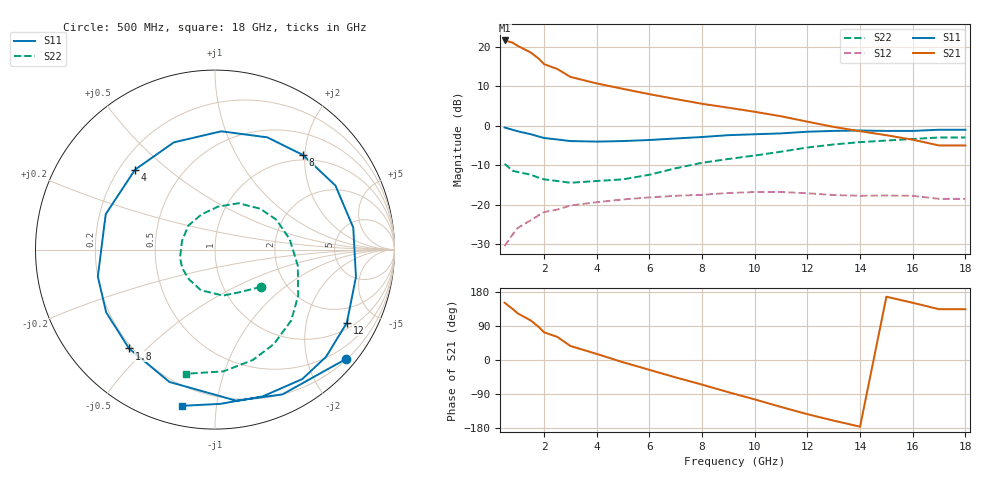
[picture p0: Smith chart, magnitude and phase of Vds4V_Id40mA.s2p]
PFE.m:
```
clear,clc
S=[ 0.7*exp(-150*1i*pi/180) 0.081*exp(19*1i*pi/180); 6.002*exp(73*1i*pi/180) 0.21*exp(-150*1i*pi/180)];
[K,mu,D,B1,B2,C1,C2,D1,D2] = sparam(S);Fmin = 0.22;gGopt=0.66*exp(67*1i*pi/180);rn=4.5/50;F=0.35;Ga=17.16;
[cs,rs] = sgcirc(S,'s');[cl,rl] = sgcirc(S,'l');% Stability circles
gLopt = conj(gout(S,gGopt));Gopt=10*log10(sgain(S,gGopt,'a'));Gmsg = 10*log10(sgain(S,'msg'));

%Constant NF and Ga circles
[cf,rf] = nfcirc(F,Fmin,rn,gGopt);[c_opt,r_opt] = sgcirc(S,'a',Gopt); [ca,ra] = sgcirc(S,'a',Ga);
figure
hsm = smithchart;hold on
smithcir(cf,rf,10,3);smithcir(c_opt,r_opt,10,3);smithcir(ca,ra,10,3);smithcir(cs,rs,10,3);smithcir(cl,rl,10,3)
%Calculate intersection point
phi = linspace(0,2*pi,721); gG = cf + rf*exp(1i*phi);
G = 10*log10(sgain(S,gG,'a'));[Ga,i] = max(G); gammaG = gG(i); gammaL = conj(gout(S,gammaG)); 
plot([gGopt, gLopt],'*');plot([gammaG,gammaL],'*');
legend(['Constant F=' num2str(F)],['G_F_m_i_n=' num2str(Gopt)],['Ga=' num2str(Ga) ' dB'],'Input stability circle','output stability circle','Gamma_o_p_t','Gamma_D_e_s_i_r_e_d')
title('Stability, noise figure, and gain circles')
%GAMMA OF INTERSECTION POINTS
gG_intersection = circint(cf,rf,ca,ra);gL_intersection = conj(gout(S,gG_intersection));
%%%%%%%%%         DESIGN OF MATCHING NETWORKS              %%%%%%%%%%%%%%%%%%%%%
Z_G = gamma2z(gammaG);Z_L = gamma2z(gammaL);Z0=50;f0=2e9;w=2*pi*f0;
%%%%%%%%%%%%%%%INPUT MATCHING NETWORK%%%%%%%%%%%%%%%%%%%%%%
ZL=conj(Z_G);RL=real(ZL);XL=imag(ZL);
if abs(real(ZL/Z0))>=1   
B1=1/(RL^2+XL^2)*(XL+(RL/Z0)^.5*(RL^2+XL^2-Z0*RL)^.5);B2=1/(RL^2+XL^2)*(XL-(RL/Z0)^.5*(RL^2+XL^2-Z0*RL)^.5);
X1=1/B1+XL*Z0/RL-Z0/(B1*RL);X2=1/B2+XL*Z0/RL-Z0/(B2*RL);
elseif abs(real(ZL/Z0))<=1   
X1=(RL*(Z0-RL))^.5-XL; X2=-(RL*(Z0-RL))^.5-XL;B1=1/Z0*((Z0-RL)/RL)^.5; B2=-1/Z0*((Z0-RL)/RL)^.5;
end
[C1 ctype]=B2LC(B1,f0);[L1 ltype]=X2LC(X1,f0);% the 1st match solution  
[L2 ctype]=B2LC(B2,f0);[C2 ltype]=X2LC(X2,f0);%  the 2nd solution
%%%%%%%%%%%          OUTPUT MATCHING NETWORK         %%%%%%%%%%%%%%
ZL=conj(Z_L);RL=real(ZL);XL=imag(ZL);
if abs(real(ZL/Z0))>=1
B1=1/(RL^2+XL^2)*(XL+(RL/Z0)^.5*(RL^2+XL^2-Z0*RL)^.5);B2=1/(RL^2+XL^2)*(XL-(RL/Z0)^.5*(RL^2+XL^2-Z0*RL)^.5);
X1=1/B1+XL*Z0/RL-Z0/(B1*RL);X2=1/B2+XL*Z0/RL-Z0/(B2*RL);
elseif abs(real(ZL/Z0))<=1  
X1=(RL*(Z0-RL))^.5-XL; X2=-(RL*(Z0-RL))^.5-XL;B1=1/Z0*((Z0-RL)/RL)^.5; B2=-1/Z0*((Z0-RL)/RL)^.5;
end
[C_1 ctype]=B2LC(B1,f0);[L_1 ltype]=X2LC(X1,f0);% the 1st match solution  
[L_2 ctype]=B2LC(B2,f0);[C_2 ltype]=X2LC(X2,f0);% the 2nd solution

%%%%%%%%%%         Second aproach using S2P file       %%%%%%%%%%%%%%%%%
unmatched_amp = read(rfckt.amplifier, 'Vds4V_Id40mA.s2p');
freq=5e8:100e6:3.5e9;Ga=17.16;analyze(unmatched_amp,freq);
figure%Plotting the intersection
hsm = smithchart;circle(unmatched_amp,f0,'Stab','In','Stab','Out','Ga',Ga,'NF',F,hsm);
legend('Input stability circle','output stability circle',['Ga=' num2str(Ga) ' dB'],['Constant F=' num2str(F) 'dB'])
title('Intersection of Noise figure and Gain circles')
legend('Location','SouthEast')
figure %Plotting Detla and K
plot(unmatched_amp,'Delta','mag');hold all;plot(unmatched_amp,'K')
title('Device stability parameters');grid on

In1 = rfckt.cascade('Ckts',{rfckt.shuntrlc('C',C1),rfckt.seriesrlc('L',L1)});
In2 = rfckt.cascade('Ckts',{rfckt.shuntrlc('L',L2),rfckt.seriesrlc('L',C2)});
Out2 = rfckt.cascade('Ckts',{rfckt.seriesrlc('C',C_2),rfckt.shuntrlc('L',L_2)});
Out1 = rfckt.cascade('Ckts',{rfckt.seriesrlc('L',L_1),rfckt.shuntrlc('C',C_1)});
Matched_Amp11 = rfckt.cascade('Ckts',{In1,unmatched_amp,Out1});analyze(Matched_Amp11,freq);
Matched_Amp12 = rfckt.cascade('Ckts',{In1,unmatched_amp,Out2});analyze(Matched_Amp12,freq);
Matched_Amp21 = rfckt.cascade('Ckts',{In2,unmatched_amp,Out1});analyze(Matched_Amp21,freq);
Matched_Amp22 = rfckt.cascade('Ckts',{In2,unmatched_amp,Out2});analyze(Matched_Amp22,freq);

figure 
subplot(2,1,1);%Plotting Available gains
p=plot(unmatched_amp,'Gt');p.LineWidth = 2;p.Marker = '+';hold on;
p=plot(Matched_Amp11,'Gt');p.LineStyle = '-.';p.LineWidth = 3;
p=plot(Matched_Amp12,'Gt');p.LineStyle = ':';p.LineWidth = 4;
p=plot(Matched_Amp21,'Gt');p.LineStyle = '-.';p.LineWidth = 3;
p=plot(Matched_Amp22,'Gt');p.LineStyle = ':';p.LineWidth = 4;
p=plot(unmatched_amp,'Gmsg');p.LineWidth = 4;p.Marker = '+';hold on;
xlabel('Frequency (GHz)');ylabel('Available gain (dB)') 
legend('G_a - Unmatched','G_a - Matched (IN1 & Out1)','G_a - Matched (IN1 & Out2)','G_a - Matched (IN2 & Out1)','G_a - Matched (IN2 & Out2)','G_m_s_g')
title('Available gains G_a of all configurations')
subplot(2,1,2);%figure %Plotting noise figures
p=plot(unmatched_amp,'NF');p.LineWidth = 2;p.Marker = '+';hold on;
p=plot(Matched_Amp11,'NF');p.LineWidth = 3;p.LineStyle = '-.';
p=plot(Matched_Amp12,'NF');p.LineWidth = 4;p.LineStyle = ':';
p=plot(Matched_Amp21,'NF');p.LineWidth = 3;p.LineStyle = '-.';
p=plot(Matched_Amp22,'NF');p.LineWidth = 4;p.LineStyle = ':';
p=plot(unmatched_amp,'Fmin');p.LineWidth = 1;p.Marker = 'p';
xlabel('Frequency (GHz)');ylabel('Noise figure (dB)') 
legend('F - Unmatched','F - Matched  (IN1 & Out1)','F - Matched  (IN1 & Out2)','F - Matched  (IN2 & Out1)','F - Matched  (IN2 & Out2)','Fmin')
title('Noise figure F of all configurations')


figure
subplot(2,2,1);
plotyy(Matched_Amp11,'Gt','dB','NF','dB');[hAx,hLine1,hLine2]=plotyy(Matched_Amp11,'Gt','dB','NF','dB');
xlabel('Frequency (GHz)');ylabel(hAx(1),'Available gain (dB)');ylabel(hAx(2),'Noise figure (dB)') 
title('Configuration 1 (IN1 & Out1)')
subplot(2,2,2);
plotyy(Matched_Amp12,'Gt','dB','NF','dB');[hAx,hLine1,hLine2]=plotyy(Matched_Amp12,'Gt','dB','NF','dB');
xlabel('Frequency (GHz)');ylabel(hAx(1),'Available gain (dB)');ylabel(hAx(2),'Noise figure (dB)')
title('Configuration 2 (IN1 & Out2)')
subplot(2,2,3);
plotyy(Matched_Amp21,'Gt','dB','NF','dB');[hAx,hLine1,hLine2]=plotyy(Matched_Amp21,'Gt','dB','NF','dB');
xlabel('Frequency (GHz)');ylabel(hAx(1),'Available gain (dB)');ylabel(hAx(2),'Noise figure (dB)')
title('Configuration 3 (IN2 & Out1)')
subplot(2,2,4);
plotyy(Matched_Amp22,'Gt','dB','NF','dB');[hAx,hLine1,hLine2]=plotyy(Matched_Amp22,'Gt','dB','NF','dB');
xlabel('Frequency (GHz)');ylabel(hAx(1),'Available gain (dB)');ylabel(hAx(2),'Noise figure (dB)')
title('Configuration 4 (IN2 & Out2)')
```
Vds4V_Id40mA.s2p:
!ATF-34143
!S-PARAMETERS at Vds=4V  Id=40mA.  LAST UPDATED BY ME BENZATER 04.07.2020 	at 16H00
# ghz s ma r 50
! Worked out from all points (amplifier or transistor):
!   23 points, 500 MHz to 18 GHz, reference 50 ohm
!   highest |S21| = 21.6 dB at 500 MHz (marker M1)
!   |S21| within 3 dB of that: start of sweep to 1.478 GHz
!   unconditionally stable (mu >= 1): 4.499 GHz to end of sweep
!   at 1.5 GHz: K = 0.42, MSG = 21.2 dB, |S12| = -23.9 dB
!   at 7 GHz: K = 1.12, MAG = 10.1 dB, |S12| = -17.7 dB
!   at 18 GHz: K = 1.33, MAG = 3.3 dB, |S12| = -18.5 dB
!   lowest NFmin = 0.10 dB at 500 MHz
!   S11 on the Smith chart (normalised r, x): 500 MHz: 0.22, -2.73; 1.8 GHz: 0.19, -0.44; 4 GHz: 0.26, +0.39; 8 GHz: 0.90, +1.96; 12 GHz: 1.25, -3.45; 18 GHz: 0.10, -0.81
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0.5  0.95 -40.0  11.97 151.0  0.03 68.0  0.33 -39.0
1  0.85 -82.0  10.22 123.0  0.051 48.0  0.26 -80.0
1.8  0.73 -131.0  7.024 87.0  0.074 27.0  0.22 -131.0
2  0.7 -150.0  6.002 73.0  0.081 19.0  0.21 -150.0
3  0.64 162.0  4.141 37.0  0.098 -1.0  0.19 165.0
4  0.63 135.0  3.428 16.0  0.108 -13.0  0.2 138.0
6  0.66 87.0  2.506 -26.0  0.124 -41.0  0.24 86.0
8  0.72 47.0  1.894 -65.0  0.134 -68.0  0.34 42.0
10  0.78 9.0  1.501 -104.0  0.145 -97.0  0.42 8.0
12  0.84 -29.0  1.125 -143.0  0.14 -128.0  0.53 -29.0
18  0.89 -101.8  0.563 134.0  0.119 168.0  0.71 -103.0
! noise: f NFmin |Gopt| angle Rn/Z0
0.5  0.1  0.87  13  0.16
0.9  0.13  0.82  27  0.14
1.5  0.17  0.73  49  0.11
1.8  0.2  0.7  60  0.1
2.5  0.28  0.6  85  0.07
3  0.34  0.54  104  0.05
5  0.57  0.4  180  0.03
6  0.69  0.38  -144  0.05
8  0.94  0.43  -82  0.2
10  1.19  0.62  -40  0.47
